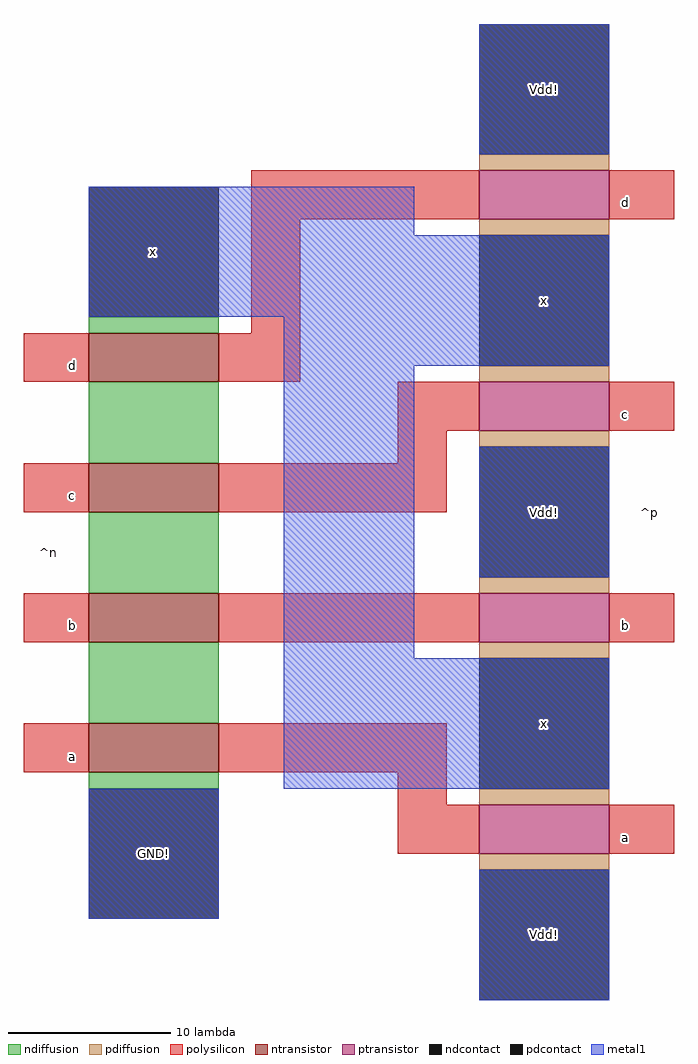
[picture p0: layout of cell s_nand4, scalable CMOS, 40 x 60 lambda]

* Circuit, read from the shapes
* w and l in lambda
.subckt s_nand4 GND! Vdd! a b c d x
M1 n1 a GND! VSUBS nfet w=8 l=3
M2 n2 b n1 VSUBS nfet w=8 l=3
M3 n3 c n2 VSUBS nfet w=8 l=3
M4 x d n3 VSUBS nfet w=8 l=3
M5 x a Vdd! NWELL pfet w=8 l=3
M6 Vdd! b x NWELL pfet w=8 l=3
M7 x c Vdd! NWELL pfet w=8 l=3
M8 Vdd! d x NWELL pfet w=8 l=3
.ends

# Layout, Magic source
magic
tech scmos
<< ndiffusion >>
rect 153 522 161 523
rect 153 514 161 519
rect 153 506 161 511
rect 153 498 161 503
rect 153 494 161 495
<< pdiffusion >>
rect 177 532 185 533
rect 177 528 185 529
rect 177 519 185 520
rect 177 515 185 516
rect 177 506 185 507
rect 177 502 185 503
rect 177 493 185 494
rect 177 489 185 490
<< ntransistor >>
rect 153 519 161 522
rect 153 511 161 514
rect 153 503 161 506
rect 153 495 161 498
<< ptransistor >>
rect 177 529 185 532
rect 177 516 185 519
rect 177 503 185 506
rect 177 490 185 493
<< polysilicon >>
rect 163 529 177 532
rect 185 529 189 532
rect 163 522 166 529
rect 149 519 153 522
rect 161 519 166 522
rect 172 516 177 519
rect 185 516 189 519
rect 172 514 175 516
rect 149 511 153 514
rect 161 511 175 514
rect 149 503 153 506
rect 161 503 177 506
rect 185 503 189 506
rect 149 495 153 498
rect 161 495 175 498
rect 172 493 175 495
rect 172 490 177 493
rect 185 490 189 493
<< ndcontact >>
rect 153 523 161 531
rect 153 486 161 494
<< pdcontact >>
rect 177 533 185 541
rect 177 520 185 528
rect 177 507 185 515
rect 177 494 185 502
rect 177 481 185 489
<< metal1 >>
rect 177 533 185 541
rect 153 528 173 531
rect 153 523 185 528
rect 165 520 185 523
rect 165 502 173 520
rect 177 507 185 515
rect 165 494 185 502
rect 153 486 161 494
rect 177 481 185 489
<< labels >>
rlabel metal1 181 498 181 498 1 x
rlabel metal1 181 511 181 511 5 Vdd!
rlabel metal1 181 485 181 485 1 Vdd!
rlabel polysilicon 186 504 186 504 1 b
rlabel polysilicon 186 491 186 491 1 a
rlabel metal1 181 524 181 524 5 x
rlabel polysilicon 186 517 186 517 1 c
rlabel metal1 181 537 181 537 1 Vdd!
rlabel polysilicon 186 530 186 530 1 d
rlabel metal1 157 490 157 490 1 GND!
rlabel polysilicon 152 496 152 496 3 a
rlabel polysilicon 152 504 152 504 3 b
rlabel polysilicon 152 512 152 512 3 c
rlabel metal1 157 527 157 527 1 x
rlabel polysilicon 152 520 152 520 3 d
rlabel space 148 486 153 531 7 ^n
rlabel space 185 481 190 541 3 ^p
<< end >>
